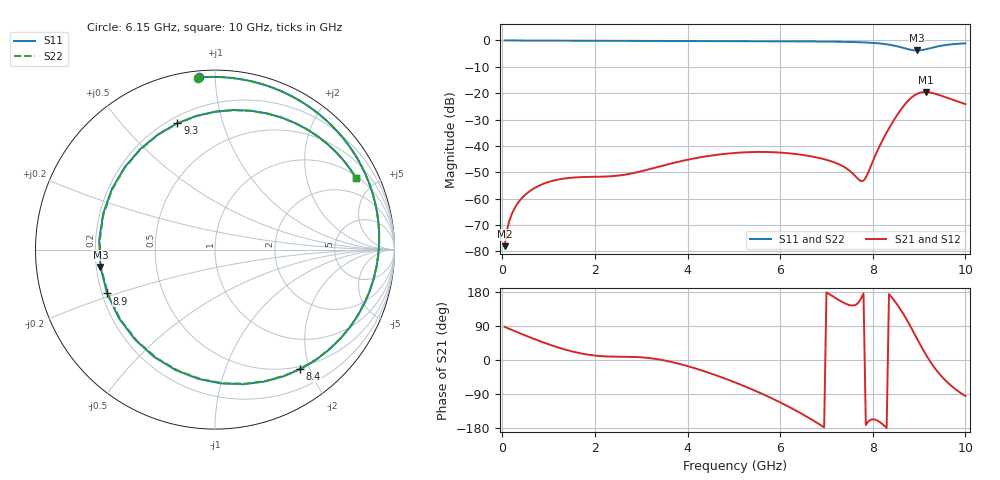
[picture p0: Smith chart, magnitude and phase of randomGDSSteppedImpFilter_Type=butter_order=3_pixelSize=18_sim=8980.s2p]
! freq	dB(S11)	phase(S11)	dB(S12)	phase(S12)
!  dB(S21)	phase(S21)	dB(S22)	phase(S22)
!S-par simulation data
#  GHz  S  DB  R 50
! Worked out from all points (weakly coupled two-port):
!   200 points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, 50 MHz to 10 GHz, reference 50 ohm
!   highest |S21| = -19.56 dB at 9.15 GHz (marker M1); lowest = -78.0 dB at 50 MHz (marker M2)
!   lowest |S11| = -3.8 dB at 8.95 GHz (marker M3), VSWR 4.64, Z = 10.8 - j3.59 ohm
!   |S11| at or under -10 dB: nowhere
!   |S22| runs from -3.8 to 0.0 dB; largest |S21 - S12| = 0
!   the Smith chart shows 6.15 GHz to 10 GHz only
!   S11 on the Smith chart (normalised r, x): 6.15 GHz: 0.03, +0.91; 8.4 GHz: 0.46, -1.85; 8.9 GHz: 0.22, -0.19; 9.3 GHz: 0.24, +0.72; 10 GHz: 1.09, +3.90
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0.05  -0.00 -2.6  -78.01 87.4  -78.01 87.4  -0.00 -2.6
0.2  -0.01 -10.4  -66.05 79.6  -66.05 79.6  -0.01 -10.4
0.5  -0.03 -25.7  -58.45 64.6  -58.45 64.6  -0.03 -25.7
1.15  -0.07 -58.0  -52.96 35.2  -52.96 35.2  -0.07 -57.9
1.75  -0.10 -86.0  -51.80 16.2  -51.80 16.2  -0.10 -86.0
2.5  -0.13 -118.4  -51.25 8.8  -51.25 8.8  -0.13 -118.4
3.4  -0.17 -154.5  -47.78 1.1  -47.78 1.1  -0.17 -154.5
4.2  -0.21 174.6  -44.55 -23.4  -44.55 -23.4  -0.21 174.7
5.05  -0.25 141.5  -42.62 -60.3  -42.62 -60.3  -0.25 141.7
6.15  -0.33 95.4  -42.72 -121.1  -42.72 -121.1  -0.32 95.8
6.7  -0.38 69.8  -44.05 -158.6  -44.05 -158.6  -0.38 70.2
7.25  -0.48 41.0  -46.80 159.4  -46.80 159.4  -0.48 41.6
7.8  -0.73 5.6  -53.16 176.0  -53.16 176.0  -0.73 6.5
8.35  -1.60 -47.8  -33.34 173.8  -33.34 173.8  -1.58 -46.5
8.4  -1.75 -54.6  -31.84 166.8  -31.84 166.8  -1.73 -53.3
8.65  -2.78 -97.4  -25.23 123.5  -25.23 123.5  -2.77 -95.8
8.9  -3.76 -157.9  -20.82 69.0  -20.82 69.0  -3.78 -156.4
8.95  -3.80 -171.4  -20.31 57.5  -20.31 57.5  -3.84 -170.0
9.15  -3.33 137.5  -19.56 13.5  -19.56 13.5  -3.37 138.3
9.3  -2.68 106.6  -19.97 -14.8  -19.97 -14.8  -2.70 107.0
9.55  -1.80 68.9  -21.41 -51.5  -21.41 -51.5  -1.81 69.1
10  -1.10 26.9  -24.13 -95.1  -24.13 -95.1  -1.10 27.0
